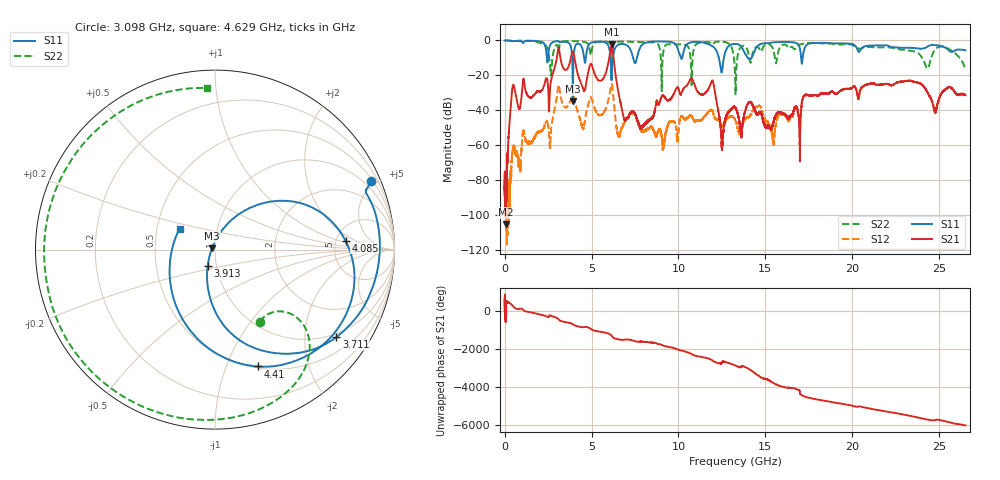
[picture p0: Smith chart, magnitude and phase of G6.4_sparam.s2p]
!Keysight Technologies,P9377B,MY61100179,A.15.75.22
!Date: Thursday, July 13, 2023 17:12:34
!Correction: S11(C  2-Port  )
!S21(C  2-Port  )
!S12(C  2-Port  )
!S22(C  2-Port  )
!S2P File: Measurements: S11, S21, S12, S22:
# Hz S  dB  R 50
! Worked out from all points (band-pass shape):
!   53000 points, 500 kHz to 26.5 GHz, reference 50 ohm
!   highest |S21| = -2.14 dB at 6.156 GHz (marker M1); lowest = -105.3 dB at 73.5 MHz (marker M2)
!   |S21| within 3 dB of the highest: 3.078 GHz to 3.133 GHz (54.98 MHz wide, 1.77 % of centre); 6.088 GHz to 6.216 GHz (127.8 MHz wide, 2.08 % of centre)
!   lowest |S11| = -34.9 dB at 3.926 GHz (marker M3), VSWR 1.04, Z = 48.3 + j0.615 ohm
!   |S11| at or under -10 dB: 7.39 GHz to 7.613 GHz (223 MHz wide, 2.97 % of centre); 12.32 GHz to 12.61 GHz (286.7 MHz wide, 2.3 % of centre); 13.99 GHz to 14.2 GHz (210.2 MHz wide, 1.49 % of centre)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
!   |S22| runs from -30.9 to 0.0 dB; largest |S21 - S12| = 0.77
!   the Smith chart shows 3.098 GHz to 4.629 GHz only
!   S11 on the Smith chart (normalised r, x): 3.098 GHz: 0.61, +4.64; 3.711 GHz: 0.89, -2.84; 3.913 GHz: 0.91, -0.17; 4.085 GHz: 6.10, +1.29; 4.41 GHz: 0.52, -1.30; 4.629 GHz: 0.65, +0.16
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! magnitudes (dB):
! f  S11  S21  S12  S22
! 500 kHz  0.0  -83.3  -79.7  0.0
! 73.5 MHz  0.0  -105.3  -91.1  0.0
! 492.5 MHz  -0.4  -25.5  -61.3  -0.5
! 2.63 GHz  -2.4  -25.6  -58.3  -16.3
! 3.098 GHz  -0.5  -4.3  -25.5  -6.5
! 3.711 GHz  -1.6  -14.1  -36.4  -0.3
! 3.913 GHz  -20.0  -6.1  -31.3  -0.3
! 3.926 GHz  -34.9  -6.2  -31.3  -0.4
! 4.085 GHz  -2.7  -13.5  -36.5  -0.4
! 4.41 GHz  -3.2  -25.0  -47.8  -0.6
! 4.418 GHz  -3.3  -25.1  -48.0  -0.6
! 4.629 GHz  -12.8  -28.0  -45.1  -0.9
! 6.156 GHz  -21.1  -2.1  -24.9  -9.5
! 6.522 GHz  -2.6  -28.5  -54.1  -0.7
! 6.926 GHz  -2.3  -45.9  -46.5  -0.7
! 8.834 GHz  -0.6  -36.6  -52.1  -2.4
! 12.52 GHz  -16.6  -60.5  -49.3  -0.7
! 13.25 GHz  -1.9  -38.3  -45.3  -19.1
! 15.44 GHz  -1.1  -47.6  -56.7  -5.0
! 17.67 GHz  -1.5  -31.5  -31.4  -1.4
! 22.08 GHz  -3.1  -25.0  -25.0  -4.0
! 26.5 GHz  -5.7  -31.3  -31.2  -16.4
